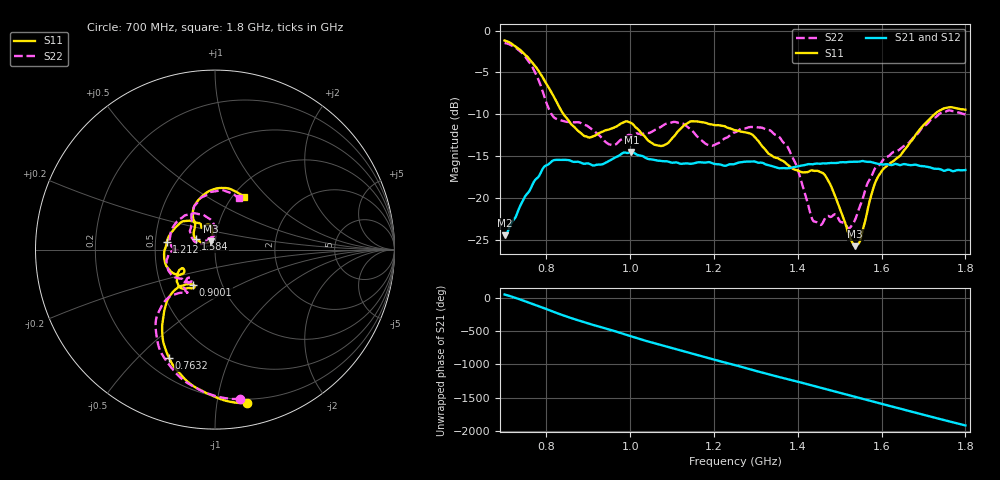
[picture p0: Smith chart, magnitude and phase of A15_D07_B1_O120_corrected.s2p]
! Created with skrf 1.9.0 (http://scikit-rf.org).
# Hz S RI R 50.0
!freq ReS11 ImS11 ReS21 ImS21 ReS12 ImS12 ReS22 ImS22
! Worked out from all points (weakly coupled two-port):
!   1601 points, 700 MHz to 1.8 GHz, reference 50 ohm
!   highest |S21| = -14.50 dB at 1.002 GHz (marker M1); lowest = -24.4 dB at 701.4 MHz (marker M2)
!   lowest |S11| = -25.7 dB at 1.537 GHz (marker M3), VSWR 1.11, Z = 47.4 + j4.34 ohm
!   |S11| at or under -10 dB: 840.8 MHz to 1.726 GHz (885.2 MHz wide, 69 % of centre)
!   |S22| runs from -23.6 to -1.5 dB; largest |S21 - S12| = 0.0036
!   S11 on the Smith chart (normalised r, x): 700 MHz: 0.17, -1.21; 763.2 MHz: 0.29, -0.62; 900.1 MHz: 0.73, -0.30; 1.212 GHz: 0.57, +0.05; 1.584 GHz: 0.80, +0.10; 1.8 GHz: 1.12, +0.75
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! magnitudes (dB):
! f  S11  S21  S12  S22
! 700 MHz  -1.2  -24.4  -24.2  -1.5
! 701.4 MHz  -1.2  -24.4  -24.0  -1.5
! 763.2 MHz  -3.7  -18.8  -18.8  -4.1
! 816.2 MHz  -7.8  -15.5  -15.6  -10.3
! 883.6 MHz  -12.3  -15.8  -15.7  -11.1
! 900.1 MHz  -12.8  -15.9  -15.9  -11.5
! 954.4 MHz  -11.7  -15.4  -15.4  -13.7
! 1.002 GHz  -11.0  -14.5  -14.6  -12.5
! 1.067 GHz  -13.7  -15.5  -15.5  -11.7
! 1.143 GHz  -10.9  -15.9  -15.9  -11.7
! 1.212 GHz  -11.3  -16.0  -16.0  -13.4
! 1.25 GHz  -11.9  -15.9  -15.8  -12.2
! 1.357 GHz  -15.4  -16.4  -16.4  -12.7
! 1.395 GHz  -16.6  -16.3  -16.2  -15.9
! 1.434 GHz  -16.7  -16.0  -15.9  -22.4
! 1.471 GHz  -17.8  -15.8  -15.8  -22.1
! 1.537 GHz  -25.7  -15.7  -15.7  -22.6
! 1.55 GHz  -24.9  -15.6  -15.6  -20.8
! 1.584 GHz  -18.2  -15.8  -15.8  -16.5
! 1.617 GHz  -16.0  -16.0  -16.0  -15.0
! 1.733 GHz  -9.7  -16.5  -16.5  -10.2
! 1.8 GHz  -9.4  -16.6  -16.6  -10.0
